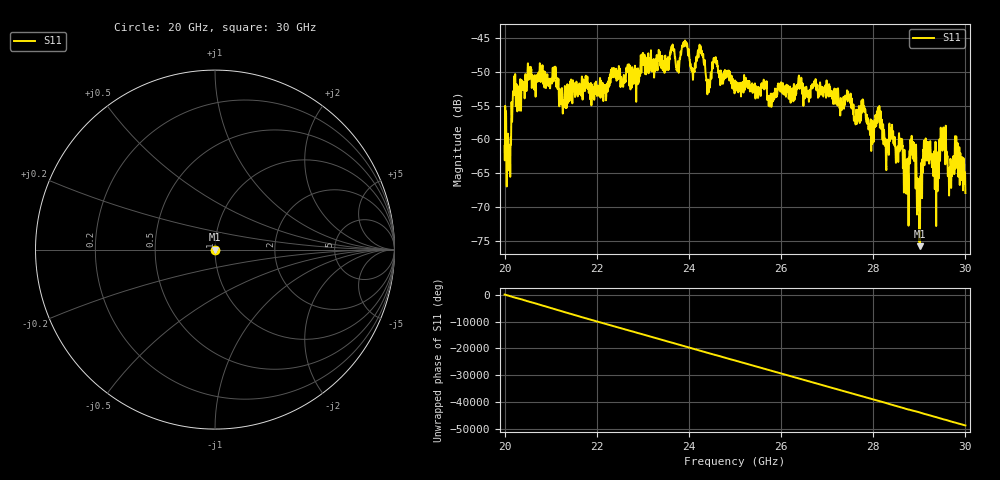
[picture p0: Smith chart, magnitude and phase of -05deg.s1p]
#  HZ  S  RI  R  50.00
! Rohde & Schwarz ZVA40 4Ports - Version 3.90 - 1145.1110k42 SN: 100403
! Date: 2023-10-03 10:16:43
! Measurement: S12
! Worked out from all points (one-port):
!   5001 points, 20 GHz to 30 GHz, reference 50 ohm
!   lowest |S11| = -75.8 dB at 29.01 GHz (marker M1), VSWR 1.00, Z = 50 + j0.0156 ohm
!   |S11| at or under -10 dB: start of sweep to end of sweep
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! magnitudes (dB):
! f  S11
! 20 GHz  -61.0
! 20.09 GHz  -61.8
! 20.22 GHz  -52.8
! 20.53 GHz  -49.8
! 21.09 GHz  -49.5
! 21.25 GHz  -53.8
! 22.5 GHz  -49.7
! 23.64 GHz  -46.6
! 23.75 GHz  -49.7
! 23.92 GHz  -45.6
! 24.08 GHz  -49.6
! 24.26 GHz  -47.1
! 24.41 GHz  -51.3
! 24.57 GHz  -48.3
! 25 GHz  -52.1
! 26.25 GHz  -52.7
! 27.5 GHz  -54.4
! 27.97 GHz  -57.6
! 28.14 GHz  -58.3
! 28.75 GHz  -64.7
! 28.86 GHz  -62.8
! 29.01 GHz  -75.8
! 29.13 GHz  -60.1
! 29.38 GHz  -62.2
! 29.51 GHz  -61.3
! 29.66 GHz  -64.7
! 29.82 GHz  -62.7
! 30 GHz  -67.9
